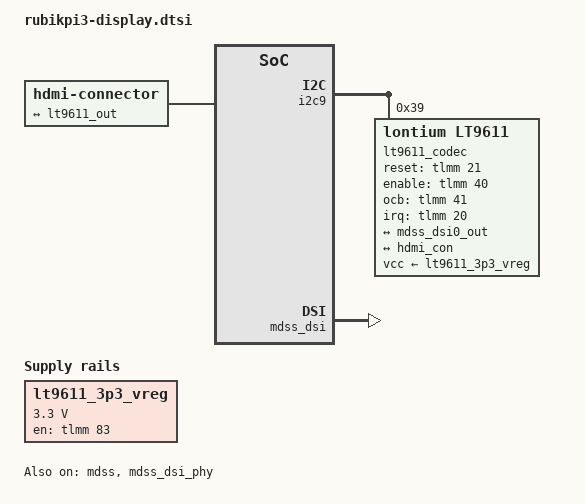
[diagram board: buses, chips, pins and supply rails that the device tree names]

/ {
	/delete-node/ regulator-lcd-disp-bias;

	hdmi-connector {
		compatible = "hdmi-connector";
		type = "a";

		port {
			hdmi_con: endpoint {
				remote-endpoint = <&lt9611_out>;
			};
		};
	};
};

&soc {
	lt9611_3p3_vreg: lt9611-3p3-vreg {
		compatible = "regulator-fixed";
		regulator-name = "lt9611_3p3_vreg";
		gpio = <&tlmm 83 0>;
		regulator-min-microvolt = <3300000>;
		regulator-max-microvolt = <3300000>;
		enable-active-high;
		regulator-enable-ramp-delay = <10000>;
	};
};

&apps_rsc {
	regulators-0 {
		vreg_l6b_1p2: ldo6 {
			regulator-min-microvolt = <1140000>;
			regulator-max-microvolt = <1260000>;
			regulator-initial-mode = <RPMH_REGULATOR_MODE_HPM>;
		};
	};

	regulators-1 {
		vreg_l10c_0p88: ldo10 {
			regulator-min-microvolt = <880000>;
			regulator-max-microvolt = <1050000>;
			regulator-initial-mode = <RPMH_REGULATOR_MODE_HPM>;
		};
	};
};

&pm7250b_gpios {
	/delete-node/ lcd-disp-bias-en-state;
};

&i2c9 {
	status = "okay";

	lt9611_codec: hdmi-bridge@39 {
		compatible = "lontium,lt9611";
		reg = <0x39>;

		interrupts-extended = <&tlmm 20 IRQ_TYPE_EDGE_BOTH>;
		reset-gpios = <&tlmm 21 0>;
		enable-gpios = <&tlmm 40 0>;
		ocb-gpios = <&tlmm 41 0>;
		vcc-supply = <&lt9611_3p3_vreg>;
		config-mode = "edidAdaptiveResolution";

		ports {
			#address-cells = <1>;
			#size-cells = <0>;

			port@0 {
				reg = <0>;

				lt9611_a: endpoint {
					remote-endpoint = <&mdss_dsi0_out>;
				};
			};

			port@2 {
				reg = <2>;

				lt9611_out: endpoint {
					remote-endpoint = <&hdmi_con>;
				};
			};
		};
	};
};

&mdss {
	status = "okay";
};

&mdss_dsi {
	vdda-supply = <&vreg_l6b_1p2>;
	status = "okay";

	/delete-node/ panel@0;
};

&mdss_dsi0_out {
	remote-endpoint = <&lt9611_a>;
	data-lanes = <0 1 2 3>;
};

&mdss_dsi_phy {
	vdds-supply = <&vreg_l10c_0p88>;
	status = "okay";
};
